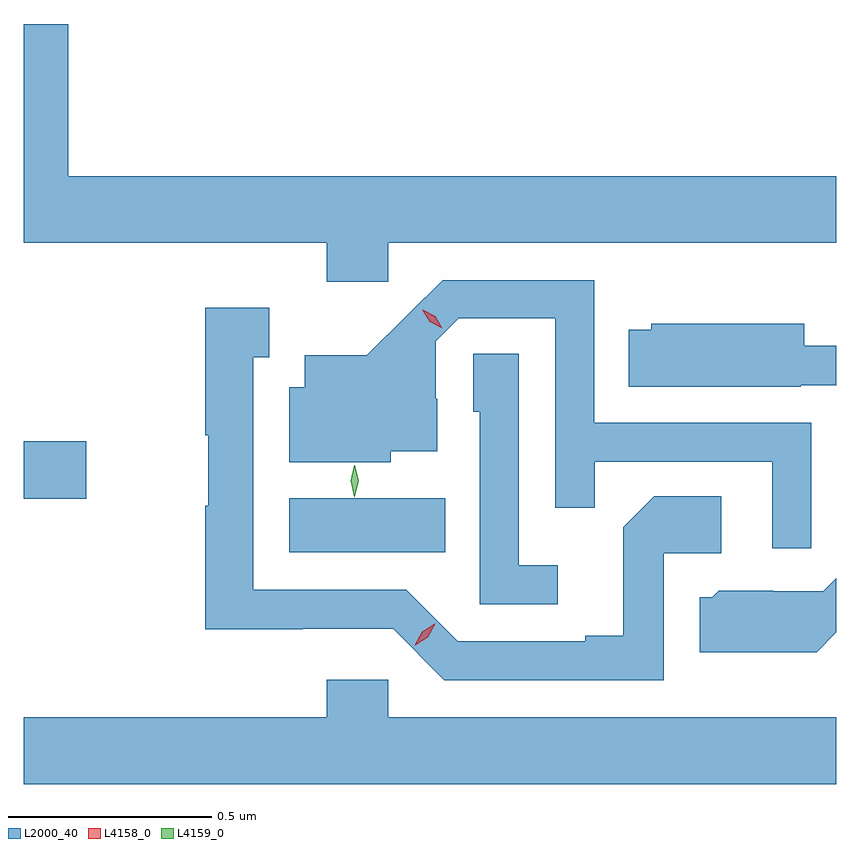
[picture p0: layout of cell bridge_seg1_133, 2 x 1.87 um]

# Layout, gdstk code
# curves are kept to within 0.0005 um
import gdstk
lib = gdstk.Library(unit=1e-6, precision=1e-09)
def R(c, l, rs):  # rectangles x0, y0, x1, y1
    for r in rs: c.add(gdstk.rectangle(r[:2], r[2:], *l))
def P(c, l, *ps):  # polygons
    for p in ps: c.add(gdstk.Polygon(p, *l))
L2000_40 = (2000, 40)
L4158_0 = (4158, 0)
L4159_0 = (4159, 0)

bridge_seg1_133 = lib.new_cell('bridge_seg1_133')
R(bridge_seg1_133, L2000_40, [(383.126,577.61,383.51,577.744), (382.473,577.742,382.627,577.884)])
P(bridge_seg1_133, L2000_40, [(383.37,578.372),(384.473,578.372),(384.473,578.536),(382.583,578.536),(382.583,578.911),(382.473,578.911),(382.473,578.372),(383.219,578.372),(383.219,578.277),(383.37,578.277)],
  [(384.411,577.929),(383.877,577.929),(383.877,578.28),(383.504,578.28),(383.317,578.095),(383.165,578.095),(383.165,578.017),(383.126,578.017),(383.126,577.832),(383.376,577.832),(383.376,577.859),(383.491,577.859),(383.491,577.988),(383.487,577.988),(383.487,578.13),(383.544,578.187),(383.781,578.187),(383.781,577.72),(383.879,577.72),(383.879,577.833),(384.315,577.833),(384.315,577.62),(384.411,577.62)],
  [(384.048,577.608),(384.19,577.608),(384.19,577.748),(384.025,577.748),(383.949,577.672),(383.949,577.405),(383.855,577.405),(383.855,577.392),(383.541,577.392),(383.415,577.518),(383.038,577.518),(383.038,578.091),(383.077,578.091),(383.077,578.212),(382.92,578.212),(382.92,577.899),(382.927,577.899),(382.927,577.725),(382.92,577.725),(382.92,577.421),(383.16,577.421),(383.16,577.422),(383.382,577.422),(383.508,577.296),(384.048,577.296)],
  [(384.386,578.022),(384.473,578.022),(384.473,578.119),(384.394,578.119),(384.394,578.173),(384.018,578.173),(384.018,578.158),(383.962,578.158),(383.962,578.018),(384.386,578.018)],
  [(383.788,577.579),(383.691,577.579),(383.691,578.099),(383.58,578.099),(383.58,577.956),(383.595,577.956),(383.595,577.482),(383.788,577.482)],
  [(384.473,577.413),(384.473,577.547),(384.441,577.515),(384.318,577.515),(384.318,577.516),(384.184,577.516),(384.168,577.5),(384.137,577.5),(384.137,577.364),(384.425,577.364)],
  [(384.473,577.204),(383.37,577.204),(383.37,577.297),(383.219,577.297),(383.219,577.204),(382.473,577.204),(382.473,577.04),(384.473,577.04)])
P(bridge_seg1_133, L4158_0, [(383.503,578.162),(383.472,578.178),(383.454,578.208),(383.454,578.208),(383.455,578.208),(383.486,578.192),(383.503,578.162),(383.503,578.162)],
  [(383.436,577.382),(383.436,577.382),(383.454,577.415),(383.485,577.434),(383.486,577.434),(383.486,577.434),(383.468,577.401),(383.437,577.382)])
P(bridge_seg1_133, L4159_0, [(383.287,577.747),(383.278,577.786),(383.287,577.825),(383.288,577.825),(383.288,577.825),(383.298,577.786),(383.288,577.747),(383.288,577.747)])

lib.write_gds('bridge_seg1_133.gds')
